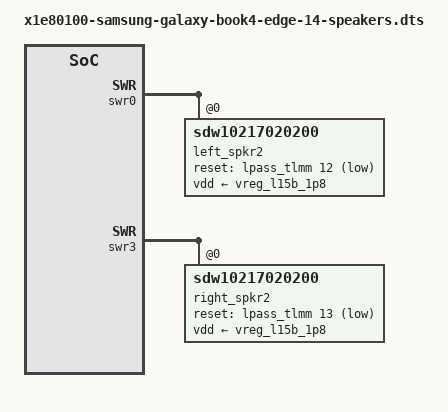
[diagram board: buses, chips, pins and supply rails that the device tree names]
// SPDX-License-Identifier: BSD-3-Clause
/*
 * EXPERIMENTAL: Galaxy Book4 Edge 14" with all four speaker amplifiers.
 *
 * Each speaker SoundWire bus has two WSA883x (0217:0202) that enumerate, at
 * addresses 1 and 2; the 14" DTS describes only address 2. Add address 1 on
 * both buses with the second port set of the WSA macro master (4 5 6, shared
 * 7, as the X1E CRD maps its second amplifier) and route the free macro
 * outputs to them. Which pair is woofer and which tweeter is not known yet:
 * test at low volume.
 */

#include "x1e80100-samsung-galaxy-book4-edge-14-camera.dts"

&{/sound} {
	audio-routing = "SpkrLeft IN", "WSA WSA_SPK1 OUT",
			"SpkrLeft2 IN", "WSA WSA_SPK2 OUT",
			"SpkrRight IN", "WSA2 WSA_SPK2 OUT",
			"SpkrRight2 IN", "WSA2 WSA_SPK1 OUT",
			"IN1_HPHL", "HPHL_OUT",
			"IN2_HPHR", "HPHR_OUT",
			"AMIC2", "MIC BIAS2",
			"VA DMIC0", "MIC BIAS3",
			"VA DMIC1", "MIC BIAS3",
			"VA DMIC2", "MIC BIAS1",
			"VA DMIC3", "MIC BIAS1",
			"TX SWR_INPUT1", "ADC2_OUTPUT";
};

&{/sound/wsa-dai-link/codec} {
	sound-dai = <&left_spkr>, <&left_spkr2>, <&swr0 0>, <&lpass_wsamacro 0>,
		    <&right_spkr>, <&right_spkr2>, <&swr3 0>, <&lpass_wsa2macro 0>;
};

&swr0 {
	left_spkr2: speaker@0,1 {
		compatible = "sdw10217020200";
		reg = <0 1>;
		reset-gpios = <&lpass_tlmm 12 GPIO_ACTIVE_LOW>;
		#sound-dai-cells = <0>;
		#thermal-sensor-cells = <0>;
		sound-name-prefix = "SpkrLeft2";
		vdd-supply = <&vreg_l15b_1p8>;
		qcom,port-mapping = <4 5 6 7>;
	};
};

&swr3 {
	right_spkr2: speaker@0,1 {
		compatible = "sdw10217020200";
		reg = <0 1>;
		reset-gpios = <&lpass_tlmm 13 GPIO_ACTIVE_LOW>;
		#sound-dai-cells = <0>;
		#thermal-sensor-cells = <0>;
		sound-name-prefix = "SpkrRight2";
		vdd-supply = <&vreg_l15b_1p8>;
		qcom,port-mapping = <4 5 6 7>;
	};
};
